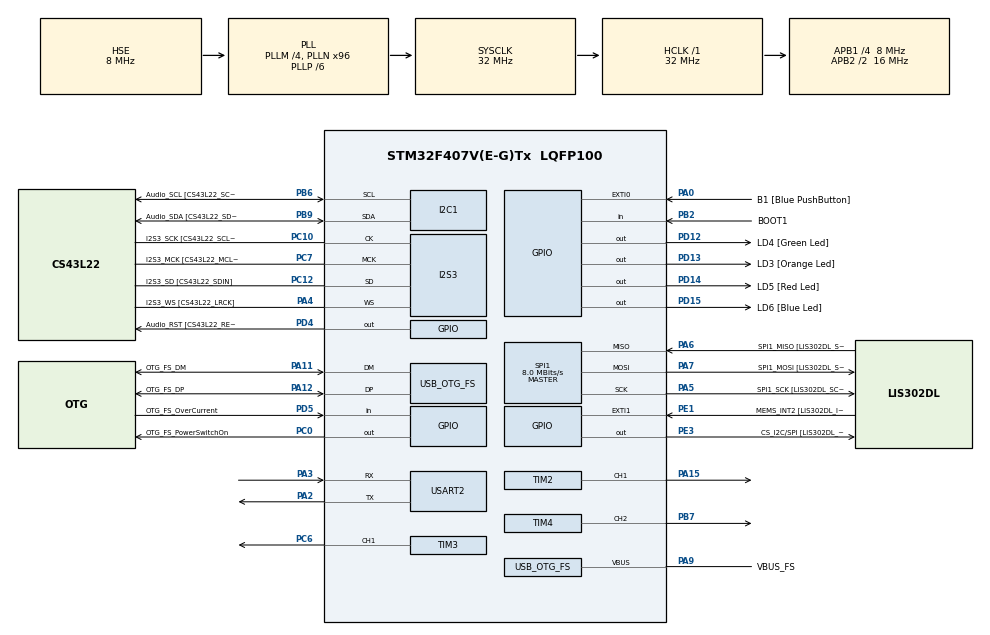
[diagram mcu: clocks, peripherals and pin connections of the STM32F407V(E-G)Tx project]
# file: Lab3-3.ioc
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I2S3.AudioFreq=I2S_AUDIOFREQ_96K
I2S3.AudioFreq-Half_Duplex_Master=I2S_AUDIOFREQ_96K
I2S3.ErrorAudioFreq=- %
I2S3.ErrorAudioFreq-Half_Duplex_Master=0.8 %
I2S3.FullDuplexMode=I2S_FULLDUPLEXMODE_DISABLE
I2S3.Instance=SPI$Index
I2S3.RealAudioFreq=- Hz
I2S3.RealAudioFreq-Half_Duplex_Master=96.774 KHz
I2S3.VirtualMode=I2S_MODE_MASTER
Mcu.Family=STM32F4
Mcu.Name=STM32F407V(E-G)Tx
Mcu.Package=LQFP100
NVIC.OTG_FS_IRQn=true\:0\:0\:false\:false\:true\:true\:true
NVIC.PriorityGroup=NVIC_PRIORITYGROUP_2
NVIC.TIM2_IRQn=true\:0\:0\:false\:false\:true\:true\:true
NVIC.TIM3_IRQn=true\:0\:0\:false\:false\:true\:true\:true
NVIC.TIM4_IRQn=true\:0\:0\:false\:false\:true\:true\:true
NVIC.USART2_IRQn=true\:2\:0\:true\:false\:true\:true\:true
PA0-WKUP.GPIO_Label=B1 [Blue PushButton]
PA0-WKUP.GPIO_ModeDefaultEXTI=GPIO_MODE_EVT_RISING
PA0-WKUP.GPIO_PuPd=GPIO_NOPULL
PA0-WKUP.Signal=GPXTI0
PA10.GPIO_Label=OTG_FS_ID
PA10.GPIO_Mode=GPIO_MODE_AF_PP
PA10.GPIO_PuPd=GPIO_NOPULL
PA10.GPIO_Speed=GPIO_SPEED_FREQ_LOW
PA10.Signal=USB_OTG_FS_ID
PA11.GPIO_Label=OTG_FS_DM
PA11.GPIO_Mode=GPIO_MODE_AF_PP
PA11.GPIO_PuPd=GPIO_NOPULL
PA11.GPIO_Speed=GPIO_SPEED_FREQ_LOW
PA11.Mode=Host_Only
PA11.Signal=USB_OTG_FS_DM
PA12.GPIO_Label=OTG_FS_DP
PA12.GPIO_Mode=GPIO_MODE_AF_PP
PA12.GPIO_PuPd=GPIO_NOPULL
PA12.GPIO_Speed=GPIO_SPEED_FREQ_LOW
PA12.Mode=Host_Only
PA12.Signal=USB_OTG_FS_DP
PA13.GPIO_Label=SWDIO
PA13.Mode=Serial_Wire
PA13.Signal=SYS_JTMS-SWDIO
PA14.GPIO_Label=SWCLK
PA14.Mode=Serial_Wire
PA14.Signal=SYS_JTCK-SWCLK
PA15.Signal=S_TIM2_CH1_ETR
PA2.Mode=Asynchronous
PA2.Signal=USART2_TX
PA3.Mode=Asynchronous
PA3.Signal=USART2_RX
PA4.GPIO_Label=I2S3_WS [CS43L22_LRCK]
PA4.GPIO_Mode=GPIO_MODE_AF_PP
PA4.GPIO_PuPd=GPIO_NOPULL
PA4.GPIO_Speed=GPIO_SPEED_FREQ_LOW
PA4.Mode=Half_Duplex_Master
PA4.Signal=I2S3_WS
PA5.GPIO_Label=SPI1_SCK [LIS302DL_SCL/SPC]
PA5.GPIO_Mode=GPIO_MODE_AF_PP
PA5.GPIO_PuPd=GPIO_NOPULL
PA5.GPIO_Speed=GPIO_SPEED_FREQ_LOW
PA5.Mode=Full_Duplex_Master
PA5.Signal=SPI1_SCK
PA6.GPIO_Label=SPI1_MISO [LIS302DL_SDO]
PA6.GPIO_Mode=GPIO_MODE_AF_PP
PA6.GPIO_PuPd=GPIO_NOPULL
PA6.GPIO_Speed=GPIO_SPEED_FREQ_LOW
PA6.Mode=Full_Duplex_Master
PA6.Signal=SPI1_MISO
PA7.GPIO_Label=SPI1_MOSI [LIS302DL_SDA/SDI/SDO]
PA7.GPIO_Mode=GPIO_MODE_AF_PP
PA7.GPIO_PuPd=GPIO_NOPULL
PA7.GPIO_Speed=GPIO_SPEED_FREQ_LOW
PA7.Mode=Full_Duplex_Master
PA7.Signal=SPI1_MOSI
PA9.GPIO_Label=VBUS_FS
PA9.GPIO_Mode=GPIO_MODE_INPUT
PA9.GPIO_PuPd=GPIO_NOPULL
PA9.Mode=Activate_VBUS
PA9.Signal=USB_OTG_FS_VBUS
PB10.GPIO_Label=CLK_IN [MP45DT02_CLK]
PB10.GPIO_Mode=GPIO_MODE_AF_PP
PB10.GPIO_PuPd=GPIO_NOPULL
PB10.GPIO_Speed=GPIO_SPEED_FREQ_LOW
PB10.Signal=I2S2_CK
PB2.GPIO_Label=BOOT1
PB2.GPIO_Mode=GPIO_MODE_INPUT
PB2.GPIO_PuPd=GPIO_NOPULL
PB2.Signal=GPIO_Input
PB3.GPIO_Label=SWO
PB3.Signal=SYS_JTDO-SWO
PB6.GPIO_Label=Audio_SCL [CS43L22_SCL]
PB6.GPIO_Mode=GPIO_MODE_AF_OD
PB6.GPIO_PuPd=GPIO_NOPULL
PB6.GPIO_Speed=GPIO_SPEED_FREQ_LOW
PB6.Mode=I2C
PB6.Signal=I2C1_SCL
PB7.Signal=S_TIM4_CH2
PB9.GPIO_Label=Audio_SDA [CS43L22_SDA]
PB9.GPIO_Mode=GPIO_MODE_AF_OD
PB9.GPIO_PuPd=GPIO_NOPULL
PB9.GPIO_Speed=GPIO_SPEED_FREQ_LOW
PB9.Mode=I2C
PB9.Signal=I2C1_SDA
PC0.GPIO_Label=OTG_FS_PowerSwitchOn
PC0.GPIO_PuPd=GPIO_NOPULL
PC0.GPIO_Speed=GPIO_SPEED_FREQ_LOW
PC0.PinState=GPIO_PIN_SET
PC0.Signal=GPIO_Output
PC10.GPIO_Label=I2S3_SCK [CS43L22_SCLK]
PC10.GPIO_Mode=GPIO_MODE_AF_PP
PC10.GPIO_PuPd=GPIO_NOPULL
PC10.GPIO_Speed=GPIO_SPEED_FREQ_LOW
PC10.Mode=Half_Duplex_Master
PC10.Signal=I2S3_CK
PC12.GPIO_Label=I2S3_SD [CS43L22_SDIN]
PC12.GPIO_Mode=GPIO_MODE_AF_PP
PC12.GPIO_PuPd=GPIO_NOPULL
PC12.GPIO_Speed=GPIO_SPEED_FREQ_LOW
PC12.Mode=Half_Duplex_Master
PC12.Signal=I2S3_SD
PC14-OSC32_IN.GPIO_Label=PC14-OSC32_IN
PC14-OSC32_IN.Mode=LSE-External-Oscillator
PC14-OSC32_IN.Signal=RCC_OSC32_IN
PC15-OSC32_OUT.GPIO_Label=PC15-OSC32_OUT
PC15-OSC32_OUT.Mode=LSE-External-Oscillator
PC15-OSC32_OUT.Signal=RCC_OSC32_OUT
PC3.GPIO_Label=PDM_OUT [MP45DT02_DOUT]
PC3.GPIO_Mode=GPIO_MODE_AF_PP
PC3.GPIO_PuPd=GPIO_NOPULL
PC3.GPIO_Speed=GPIO_SPEED_FREQ_LOW
PC3.Signal=I2S2_SD
PC6.Signal=S_TIM3_CH1
PC7.GPIO_Label=I2S3_MCK [CS43L22_MCLK]
PC7.GPIO_Mode=GPIO_MODE_AF_PP
PC7.GPIO_PuPd=GPIO_NOPULL
PC7.GPIO_Speed=GPIO_SPEED_FREQ_LOW
PC7.Mode=Master_Clock_Activated
PC7.Signal=I2S3_MCK
PD12.GPIO_Label=LD4 [Green Led]
PD12.GPIO_PuPd=GPIO_NOPULL
PD12.GPIO_Speed=GPIO_SPEED_FREQ_LOW
PD12.Signal=GPIO_Output
PD13.GPIO_Label=LD3 [Orange Led]
PD13.GPIO_PuPd=GPIO_NOPULL
PD13.GPIO_Speed=GPIO_SPEED_FREQ_LOW
PD13.Signal=GPIO_Output
PD14.GPIO_Label=LD5 [Red Led]
PD14.GPIO_PuPd=GPIO_NOPULL
PD14.GPIO_Speed=GPIO_SPEED_FREQ_LOW
PD14.Signal=GPIO_Output
PD15.GPIO_Label=LD6 [Blue Led]
PD15.GPIO_PuPd=GPIO_NOPULL
PD15.GPIO_Speed=GPIO_SPEED_FREQ_LOW
PD15.Signal=GPIO_Output
PD4.GPIO_Label=Audio_RST [CS43L22_RESET]
PD4.GPIO_PuPd=GPIO_NOPULL
PD4.GPIO_Speed=GPIO_SPEED_FREQ_LOW
PD4.Signal=GPIO_Output
PD5.GPIO_Label=OTG_FS_OverCurrent
PD5.GPIO_Mode=GPIO_MODE_INPUT
PD5.GPIO_PuPd=GPIO_NOPULL
PD5.Signal=GPIO_Input
PE1.GPIO_Label=MEMS_INT2 [LIS302DL_INT2]
PE1.GPIO_ModeDefaultEXTI=GPIO_MODE_EVT_RISING
PE1.GPIO_PuPd=GPIO_NOPULL
PE1.Signal=GPXTI1
PE3.GPIO_Label=CS_I2C/SPI [LIS302DL_CS_I2C/SPI]
PE3.GPIO_PuPd=GPIO_NOPULL
PE3.GPIO_Speed=GPIO_SPEED_FREQ_LOW
PE3.Signal=GPIO_Output
PH0-OSC_IN.GPIO_Label=PH0-OSC_IN
PH0-OSC_IN.Mode=HSE-External-Oscillator
PH0-OSC_IN.Signal=RCC_OSC_IN
PH1-OSC_OUT.GPIO_Label=PH1-OSC_OUT
PH1-OSC_OUT.Mode=HSE-External-Oscillator
PH1-OSC_OUT.Signal=RCC_OSC_OUT
ProjectManager.HeapSize=0x200
ProjectManager.StackSize=0x400
ProjectManager.TargetToolchain=STM32CubeIDE
RCC.48MHZClocksFreq_Value=48000000
RCC.AHBFreq_Value=32000000
RCC.APB1CLKDivider=RCC_HCLK_DIV4
RCC.APB1Freq_Value=8000000
RCC.APB1TimFreq_Value=16000000
RCC.APB2CLKDivider=RCC_HCLK_DIV2
RCC.APB2Freq_Value=16000000
RCC.APB2TimFreq_Value=32000000
RCC.CortexFreq_Value=32000000
RCC.HCLKFreq_Value=32000000
RCC.HSE_VALUE=8000000
RCC.HSI_VALUE=16000000
RCC.PLLI2SN=50
RCC.PLLM=4
RCC.PLLN=96
RCC.PLLP=RCC_PLLP_DIV6
RCC.SYSCLKFreq_VALUE=32000000
RCC.SYSCLKSource=RCC_SYSCLKSOURCE_PLLCLK
RCC.VCOOutputFreq_Value=192000000
SH.S_TIM2_CH1_ETR.0=TIM2_CH1,PWM Generation1 CH1
SH.S_TIM3_CH1.0=TIM3_CH1,PWM Generation1 CH1
SH.S_TIM4_CH2.0=TIM4_CH2,PWM Generation2 CH2
SPI1.BaudRatePrescaler-Full_Duplex_Master=SPI_BAUDRATEPRESCALER_2
SPI1.CalculateBaudRate=8.0 MBits/s
SPI1.CalculateBaudRate-Full_Duplex_Master=42.0 MBits/s
SPI1.Direction=SPI_DIRECTION_2LINES
SPI1.Mode=SPI_MODE_MASTER
SPI1.Mode-Full_Duplex_Master=SPI_MODE_MASTER
SPI1.VirtualType=VM_MASTER
TIM2.AutoReloadPreload=TIM_AUTORELOAD_PRELOAD_ENABLE
TIM2.Channel-PWM\ Generation1\ CH1=TIM_CHANNEL_1
TIM2.Period=250
TIM2.Prescaler=16000
TIM2.Pulse-PWM\ Generation1\ CH1=125
TIM3.AutoReloadPreload=TIM_AUTORELOAD_PRELOAD_ENABLE
TIM3.Channel-PWM\ Generation1\ CH1=TIM_CHANNEL_1
TIM3.Period=981
TIM3.Prescaler=4000
TIM3.Pulse-PWM\ Generation1\ CH1=490
TIM4.AutoReloadPreload=TIM_AUTORELOAD_PRELOAD_ENABLE
TIM4.Channel-PWM\ Generation2\ CH2=TIM_CHANNEL_2
TIM4.Period=9999
TIM4.Prescaler=1600
TIM4.Pulse-PWM\ Generation2\ CH2=5000
USART2.VirtualMode=VM_ASYNC
USB_HOST.BSP.number=1
USB_HOST.USBH_HandleTypeDef-CDC_FS=hUsbHostFS
USB_HOST.VirtualModeFS=Cdc
USB_HOST0.BSP.STBoard=false
USB_HOST0.BSP.api=Unknown
USB_HOST0.BSP.i2caddr=0
USB_HOST0.BSP.i2creg=0
USB_HOST0.BSP.instance=PC0
USB_HOST0.BSP.ip=GPIO
USB_HOST0.BSP.mode=Output
USB_HOST0.BSP.name=Drive_VBUS_FS
USB_HOST0.BSP.solution=PC0
USB_OTG_FS.VirtualMode=Host_Only
USB_OTG_FS.phy_itface=HCD_PHY_EMBEDDED
VP_TIM2_VS_ClockSourceINT.Mode=Internal
VP_TIM3_VS_ClockSourceINT.Mode=Internal
VP_TIM4_VS_ClockSourceINT.Mode=Internal
VP_USB_HOST_VS_USB_HOST_CDC_FS.Mode=CDC_FS
board=STM32F4DISCOVERY

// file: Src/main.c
/* USER CODE BEGIN Header */
/**
  ******************************************************************************
  * @file           : main.c
  * @brief          : Main program body
  ******************************************************************************
  * @attention
  *
  * <h2><center>&copy; Copyright (c) 2019 STMicroelectronics.
  * All rights reserved.</center></h2>
  *
  * This software component is licensed by ST under Ultimate Liberty license
  * SLA0044, the "License"; You may not use this file except in compliance with
  * the License. You may obtain a copy of the License at:
  *                             www.st.com/SLA0044
  *
  ******************************************************************************
  */
/* USER CODE END Header */

#include "main.h"
#include "usb_host.h"

I2C_HandleTypeDef hi2c1;

I2S_HandleTypeDef hi2s3;

SPI_HandleTypeDef hspi1;

TIM_HandleTypeDef htim2;
TIM_HandleTypeDef htim3;
TIM_HandleTypeDef htim4;

UART_HandleTypeDef huart2;

void SystemClock_Config(void);
static void MX_GPIO_Init(void);
static void MX_I2C1_Init(void);
static void MX_I2S3_Init(void);
static void MX_SPI1_Init(void);
static void MX_TIM2_Init(void);
static void MX_TIM3_Init(void);
static void MX_TIM4_Init(void);
static void MX_USART2_UART_Init(void);
void MX_USB_HOST_Process(void);

/* USER CODE BEGIN 0 */
int counter_tim2 = 0;
int counter_tim3 = 0;

void HAL_TIM_PeriodElapsedCallback(TIM_HandleTypeDef *htim) {
	if (htim->Instance == TIM2) {
		counter_tim2++;
		HAL_GPIO_TogglePin(GPIOD, GPIO_PIN_14);
	}
	if (htim->Instance == TIM3) {
		counter_tim3++;
		HAL_GPIO_TogglePin(GPIOD, GPIO_PIN_12);
	}
	if (htim->Instance == TIM4) {
		char buffer[20];
		sprintf(buffer, "%d %d\r\n", counter_tim2, counter_tim3);
		HAL_UART_Transmit(&huart2, &buffer, strlen(buffer), HAL_MAX_DELAY);
	}
}

/* USER CODE END 0 */

int main(void)
{

  /* MCU Configuration--------------------------------------------------------*/

  /* Reset of all peripherals, Initializes the Flash interface and the Systick. */
  HAL_Init();

  /* Configure the system clock */
  SystemClock_Config();

  /* Initialize all configured peripherals */
  MX_GPIO_Init();
  MX_I2C1_Init();
  MX_I2S3_Init();
  MX_SPI1_Init();
  MX_USB_HOST_Init();
  MX_TIM2_Init();
  MX_TIM3_Init();
  MX_TIM4_Init();
  MX_USART2_UART_Init();
  /* USER CODE BEGIN 2 */
  HAL_TIM_PWM_Start(&htim2, TIM_CHANNEL_1);
  HAL_TIM_PWM_Start(&htim3, TIM_CHANNEL_1);
  HAL_TIM_PWM_Start(&htim4, TIM_CHANNEL_2);
  HAL_TIM_Base_Start_IT(&htim2);
  HAL_TIM_Base_Start_IT(&htim3);
  HAL_TIM_Base_Start_IT(&htim4);
  /* USER CODE END 2 */

  /* Infinite loop */
  while (1)
  {
    MX_USB_HOST_Process();

  }
}

void SystemClock_Config(void)
{
  RCC_OscInitTypeDef RCC_OscInitStruct = {0};
  RCC_ClkInitTypeDef RCC_ClkInitStruct = {0};
  RCC_PeriphCLKInitTypeDef PeriphClkInitStruct = {0};

  /** Configure the main internal regulator output voltage
  */
  __HAL_RCC_PWR_CLK_ENABLE();
  __HAL_PWR_VOLTAGESCALING_CONFIG(PWR_REGULATOR_VOLTAGE_SCALE1);
  /** Initializes the CPU, AHB and APB busses clocks
  */
  RCC_OscInitStruct.OscillatorType = RCC_OSCILLATORTYPE_HSE;
  RCC_OscInitStruct.HSEState = RCC_HSE_ON;
  RCC_OscInitStruct.PLL.PLLState = RCC_PLL_ON;
  RCC_OscInitStruct.PLL.PLLSource = RCC_PLLSOURCE_HSE;
  RCC_OscInitStruct.PLL.PLLM = 4;
  RCC_OscInitStruct.PLL.PLLN = 96;
  RCC_OscInitStruct.PLL.PLLP = RCC_PLLP_DIV6;
  RCC_OscInitStruct.PLL.PLLQ = 4;
  if (HAL_RCC_OscConfig(&RCC_OscInitStruct) != HAL_OK)
  {
    Error_Handler();
  }
  /** Initializes the CPU, AHB and APB busses clocks
  */
  RCC_ClkInitStruct.ClockType = RCC_CLOCKTYPE_HCLK|RCC_CLOCKTYPE_SYSCLK
                              |RCC_CLOCKTYPE_PCLK1|RCC_CLOCKTYPE_PCLK2;
  RCC_ClkInitStruct.SYSCLKSource = RCC_SYSCLKSOURCE_PLLCLK;
  RCC_ClkInitStruct.AHBCLKDivider = RCC_SYSCLK_DIV1;
  RCC_ClkInitStruct.APB1CLKDivider = RCC_HCLK_DIV4;
  RCC_ClkInitStruct.APB2CLKDivider = RCC_HCLK_DIV2;

  if (HAL_RCC_ClockConfig(&RCC_ClkInitStruct, FLASH_LATENCY_1) != HAL_OK)
  {
    Error_Handler();
  }
  PeriphClkInitStruct.PeriphClockSelection = RCC_PERIPHCLK_I2S;
  PeriphClkInitStruct.PLLI2S.PLLI2SN = 50;
  PeriphClkInitStruct.PLLI2S.PLLI2SR = 2;
  if (HAL_RCCEx_PeriphCLKConfig(&PeriphClkInitStruct) != HAL_OK)
  {
    Error_Handler();
  }
}

static void MX_I2C1_Init(void)
{

  hi2c1.Instance = I2C1;
  hi2c1.Init.ClockSpeed = 100000;
  hi2c1.Init.DutyCycle = I2C_DUTYCYCLE_2;
  hi2c1.Init.OwnAddress1 = 0;
  hi2c1.Init.AddressingMode = I2C_ADDRESSINGMODE_7BIT;
  hi2c1.Init.DualAddressMode = I2C_DUALADDRESS_DISABLE;
  hi2c1.Init.OwnAddress2 = 0;
  hi2c1.Init.GeneralCallMode = I2C_GENERALCALL_DISABLE;
  hi2c1.Init.NoStretchMode = I2C_NOSTRETCH_DISABLE;
  if (HAL_I2C_Init(&hi2c1) != HAL_OK)
  {
    Error_Handler();
  }

}

static void MX_I2S3_Init(void)
{

  hi2s3.Instance = SPI3;
  hi2s3.Init.Mode = I2S_MODE_MASTER_TX;
  hi2s3.Init.Standard = I2S_STANDARD_PHILIPS;
  hi2s3.Init.DataFormat = I2S_DATAFORMAT_16B;
  hi2s3.Init.MCLKOutput = I2S_MCLKOUTPUT_ENABLE;
  hi2s3.Init.AudioFreq = I2S_AUDIOFREQ_96K;
  hi2s3.Init.CPOL = I2S_CPOL_LOW;
  hi2s3.Init.ClockSource = I2S_CLOCK_PLL;
  hi2s3.Init.FullDuplexMode = I2S_FULLDUPLEXMODE_DISABLE;
  if (HAL_I2S_Init(&hi2s3) != HAL_OK)
  {
    Error_Handler();
  }

}

static void MX_SPI1_Init(void)
{

  /* SPI1 parameter configuration*/
  hspi1.Instance = SPI1;
  hspi1.Init.Mode = SPI_MODE_MASTER;
  hspi1.Init.Direction = SPI_DIRECTION_2LINES;
  hspi1.Init.DataSize = SPI_DATASIZE_8BIT;
  hspi1.Init.CLKPolarity = SPI_POLARITY_LOW;
  hspi1.Init.CLKPhase = SPI_PHASE_1EDGE;
  hspi1.Init.NSS = SPI_NSS_SOFT;
  hspi1.Init.BaudRatePrescaler = SPI_BAUDRATEPRESCALER_2;
  hspi1.Init.FirstBit = SPI_FIRSTBIT_MSB;
  hspi1.Init.TIMode = SPI_TIMODE_DISABLE;
  hspi1.Init.CRCCalculation = SPI_CRCCALCULATION_DISABLE;
  hspi1.Init.CRCPolynomial = 10;
  if (HAL_SPI_Init(&hspi1) != HAL_OK)
  {
    Error_Handler();
  }

}

static void MX_TIM2_Init(void)
{

  TIM_ClockConfigTypeDef sClockSourceConfig = {0};
  TIM_MasterConfigTypeDef sMasterConfig = {0};
  TIM_OC_InitTypeDef sConfigOC = {0};

  htim2.Instance = TIM2;
  htim2.Init.Prescaler = 16000;
  htim2.Init.CounterMode = TIM_COUNTERMODE_UP;
  htim2.Init.Period = 250;
  htim2.Init.ClockDivision = TIM_CLOCKDIVISION_DIV1;
  htim2.Init.AutoReloadPreload = TIM_AUTORELOAD_PRELOAD_ENABLE;
  if (HAL_TIM_Base_Init(&htim2) != HAL_OK)
  {
    Error_Handler();
  }
  sClockSourceConfig.ClockSource = TIM_CLOCKSOURCE_INTERNAL;
  if (HAL_TIM_ConfigClockSource(&htim2, &sClockSourceConfig) != HAL_OK)
  {
    Error_Handler();
  }
  if (HAL_TIM_PWM_Init(&htim2) != HAL_OK)
  {
    Error_Handler();
  }
  sMasterConfig.MasterOutputTrigger = TIM_TRGO_RESET;
  sMasterConfig.MasterSlaveMode = TIM_MASTERSLAVEMODE_DISABLE;
  if (HAL_TIMEx_MasterConfigSynchronization(&htim2, &sMasterConfig) != HAL_OK)
  {
    Error_Handler();
  }
  sConfigOC.OCMode = TIM_OCMODE_PWM1;
  sConfigOC.Pulse = 125;
  sConfigOC.OCPolarity = TIM_OCPOLARITY_HIGH;
  sConfigOC.OCFastMode = TIM_OCFAST_DISABLE;
  if (HAL_TIM_PWM_ConfigChannel(&htim2, &sConfigOC, TIM_CHANNEL_1) != HAL_OK)
  {
    Error_Handler();
  }
  HAL_TIM_MspPostInit(&htim2);

}

static void MX_TIM3_Init(void)
{

  TIM_ClockConfigTypeDef sClockSourceConfig = {0};
  TIM_MasterConfigTypeDef sMasterConfig = {0};
  TIM_OC_InitTypeDef sConfigOC = {0};

  htim3.Instance = TIM3;
  htim3.Init.Prescaler = 4000;
  htim3.Init.CounterMode = TIM_COUNTERMODE_UP;
  htim3.Init.Period = 981;
  htim3.Init.ClockDivision = TIM_CLOCKDIVISION_DIV1;
  htim3.Init.AutoReloadPreload = TIM_AUTORELOAD_PRELOAD_ENABLE;
  if (HAL_TIM_Base_Init(&htim3) != HAL_OK)
  {
    Error_Handler();
  }
  sClockSourceConfig.ClockSource = TIM_CLOCKSOURCE_INTERNAL;
  if (HAL_TIM_ConfigClockSource(&htim3, &sClockSourceConfig) != HAL_OK)
  {
    Error_Handler();
  }
  if (HAL_TIM_PWM_Init(&htim3) != HAL_OK)
  {
    Error_Handler();
  }
  sMasterConfig.MasterOutputTrigger = TIM_TRGO_RESET;
  sMasterConfig.MasterSlaveMode = TIM_MASTERSLAVEMODE_DISABLE;
  if (HAL_TIMEx_MasterConfigSynchronization(&htim3, &sMasterConfig) != HAL_OK)
  {
    Error_Handler();
  }
  sConfigOC.OCMode = TIM_OCMODE_PWM1;
  sConfigOC.Pulse = 490;
  sConfigOC.OCPolarity = TIM_OCPOLARITY_HIGH;
  sConfigOC.OCFastMode = TIM_OCFAST_DISABLE;
  if (HAL_TIM_PWM_ConfigChannel(&htim3, &sConfigOC, TIM_CHANNEL_1) != HAL_OK)
  {
    Error_Handler();
  }
  HAL_TIM_MspPostInit(&htim3);

}

static void MX_TIM4_Init(void)
{

  TIM_ClockConfigTypeDef sClockSourceConfig = {0};
  TIM_MasterConfigTypeDef sMasterConfig = {0};
  TIM_OC_InitTypeDef sConfigOC = {0};

  htim4.Instance = TIM4;
  htim4.Init.Prescaler = 1600;
  htim4.Init.CounterMode = TIM_COUNTERMODE_UP;
  htim4.Init.Period = 9999;
  htim4.Init.ClockDivision = TIM_CLOCKDIVISION_DIV1;
  htim4.Init.AutoReloadPreload = TIM_AUTORELOAD_PRELOAD_ENABLE;
  if (HAL_TIM_Base_Init(&htim4) != HAL_OK)
  {
    Error_Handler();
  }
  sClockSourceConfig.ClockSource = TIM_CLOCKSOURCE_INTERNAL;
  if (HAL_TIM_ConfigClockSource(&htim4, &sClockSourceConfig) != HAL_OK)
  {
    Error_Handler();
  }
  if (HAL_TIM_PWM_Init(&htim4) != HAL_OK)
  {
    Error_Handler();
  }
  sMasterConfig.MasterOutputTrigger = TIM_TRGO_RESET;
  sMasterConfig.MasterSlaveMode = TIM_MASTERSLAVEMODE_DISABLE;
  if (HAL_TIMEx_MasterConfigSynchronization(&htim4, &sMasterConfig) != HAL_OK)
  {
    Error_Handler();
  }
  sConfigOC.OCMode = TIM_OCMODE_PWM1;
  sConfigOC.Pulse = 5000;
  sConfigOC.OCPolarity = TIM_OCPOLARITY_HIGH;
  sConfigOC.OCFastMode = TIM_OCFAST_DISABLE;
  if (HAL_TIM_PWM_ConfigChannel(&htim4, &sConfigOC, TIM_CHANNEL_2) != HAL_OK)
  {
    Error_Handler();
  }
  HAL_TIM_MspPostInit(&htim4);

}

static void MX_USART2_UART_Init(void)
{

  huart2.Instance = USART2;
  huart2.Init.BaudRate = 115200;
  huart2.Init.WordLength = UART_WORDLENGTH_8B;
  huart2.Init.StopBits = UART_STOPBITS_1;
  huart2.Init.Parity = UART_PARITY_NONE;
  huart2.Init.Mode = UART_MODE_TX_RX;
  huart2.Init.HwFlowCtl = UART_HWCONTROL_NONE;
  huart2.Init.OverSampling = UART_OVERSAMPLING_16;
  if (HAL_UART_Init(&huart2) != HAL_OK)
  {
    Error_Handler();
  }

}

static void MX_GPIO_Init(void)
{
  GPIO_InitTypeDef GPIO_InitStruct = {0};

  /* GPIO Ports Clock Enable */
  __HAL_RCC_GPIOE_CLK_ENABLE();
  __HAL_RCC_GPIOC_CLK_ENABLE();
  __HAL_RCC_GPIOH_CLK_ENABLE();
  __HAL_RCC_GPIOA_CLK_ENABLE();
  __HAL_RCC_GPIOB_CLK_ENABLE();
  __HAL_RCC_GPIOD_CLK_ENABLE();

  /*Configure GPIO pin Output Level */
  HAL_GPIO_WritePin(CS_I2C_SPI_GPIO_Port, CS_I2C_SPI_Pin, GPIO_PIN_RESET);

  /*Configure GPIO pin Output Level */
  HAL_GPIO_WritePin(OTG_FS_PowerSwitchOn_GPIO_Port, OTG_FS_PowerSwitchOn_Pin, GPIO_PIN_SET);

  /*Configure GPIO pin Output Level */
  HAL_GPIO_WritePin(GPIOD, LD4_Pin|LD3_Pin|LD5_Pin|LD6_Pin
                          |Audio_RST_Pin, GPIO_PIN_RESET);

  /*Configure GPIO pin : CS_I2C_SPI_Pin */
  GPIO_InitStruct.Pin = CS_I2C_SPI_Pin;
  GPIO_InitStruct.Mode = GPIO_MODE_OUTPUT_PP;
  GPIO_InitStruct.Pull = GPIO_NOPULL;
  GPIO_InitStruct.Speed = GPIO_SPEED_FREQ_LOW;
  HAL_GPIO_Init(CS_I2C_SPI_GPIO_Port, &GPIO_InitStruct);

  /*Configure GPIO pin : OTG_FS_PowerSwitchOn_Pin */
  GPIO_InitStruct.Pin = OTG_FS_PowerSwitchOn_Pin;
  GPIO_InitStruct.Mode = GPIO_MODE_OUTPUT_PP;
  GPIO_InitStruct.Pull = GPIO_NOPULL;
  GPIO_InitStruct.Speed = GPIO_SPEED_FREQ_LOW;
  HAL_GPIO_Init(OTG_FS_PowerSwitchOn_GPIO_Port, &GPIO_InitStruct);

  /*Configure GPIO pin : PDM_OUT_Pin */
  GPIO_InitStruct.Pin = PDM_OUT_Pin;
  GPIO_InitStruct.Mode = GPIO_MODE_AF_PP;
  GPIO_InitStruct.Pull = GPIO_NOPULL;
  GPIO_InitStruct.Speed = GPIO_SPEED_FREQ_LOW;
  GPIO_InitStruct.Alternate = GPIO_AF5_SPI2;
  HAL_GPIO_Init(PDM_OUT_GPIO_Port, &GPIO_InitStruct);

  /*Configure GPIO pin : B1_Pin */
  GPIO_InitStruct.Pin = B1_Pin;
  GPIO_InitStruct.Mode = GPIO_MODE_EVT_RISING;
  GPIO_InitStruct.Pull = GPIO_NOPULL;
  HAL_GPIO_Init(B1_GPIO_Port, &GPIO_InitStruct);

  /*Configure GPIO pin : BOOT1_Pin */
  GPIO_InitStruct.Pin = BOOT1_Pin;
  GPIO_InitStruct.Mode = GPIO_MODE_INPUT;
  GPIO_InitStruct.Pull = GPIO_NOPULL;
  HAL_GPIO_Init(BOOT1_GPIO_Port, &GPIO_InitStruct);

  /*Configure GPIO pin : CLK_IN_Pin */
  GPIO_InitStruct.Pin = CLK_IN_Pin;
  GPIO_InitStruct.Mode = GPIO_MODE_AF_PP;
  GPIO_InitStruct.Pull = GPIO_NOPULL;
  GPIO_InitStruct.Speed = GPIO_SPEED_FREQ_LOW;
  GPIO_InitStruct.Alternate = GPIO_AF5_SPI2;
  HAL_GPIO_Init(CLK_IN_GPIO_Port, &GPIO_InitStruct);

  /*Configure GPIO pins : LD4_Pin LD3_Pin LD5_Pin LD6_Pin
                           Audio_RST_Pin */
  GPIO_InitStruct.Pin = LD4_Pin|LD3_Pin|LD5_Pin|LD6_Pin
                          |Audio_RST_Pin;
  GPIO_InitStruct.Mode = GPIO_MODE_OUTPUT_PP;
  GPIO_InitStruct.Pull = GPIO_NOPULL;
  GPIO_InitStruct.Speed = GPIO_SPEED_FREQ_LOW;
  HAL_GPIO_Init(GPIOD, &GPIO_InitStruct);

  /*Configure GPIO pin : OTG_FS_OverCurrent_Pin */
  GPIO_InitStruct.Pin = OTG_FS_OverCurrent_Pin;
  GPIO_InitStruct.Mode = GPIO_MODE_INPUT;
  GPIO_InitStruct.Pull = GPIO_NOPULL;
  HAL_GPIO_Init(OTG_FS_OverCurrent_GPIO_Port, &GPIO_InitStruct);

  /*Configure GPIO pin : MEMS_INT2_Pin */
  GPIO_InitStruct.Pin = MEMS_INT2_Pin;
  GPIO_InitStruct.Mode = GPIO_MODE_EVT_RISING;
  GPIO_InitStruct.Pull = GPIO_NOPULL;
  HAL_GPIO_Init(MEMS_INT2_GPIO_Port, &GPIO_InitStruct);

}

void Error_Handler(void)
{
}

/************************ (C) COPYRIGHT STMicroelectronics *****END OF FILE****/
